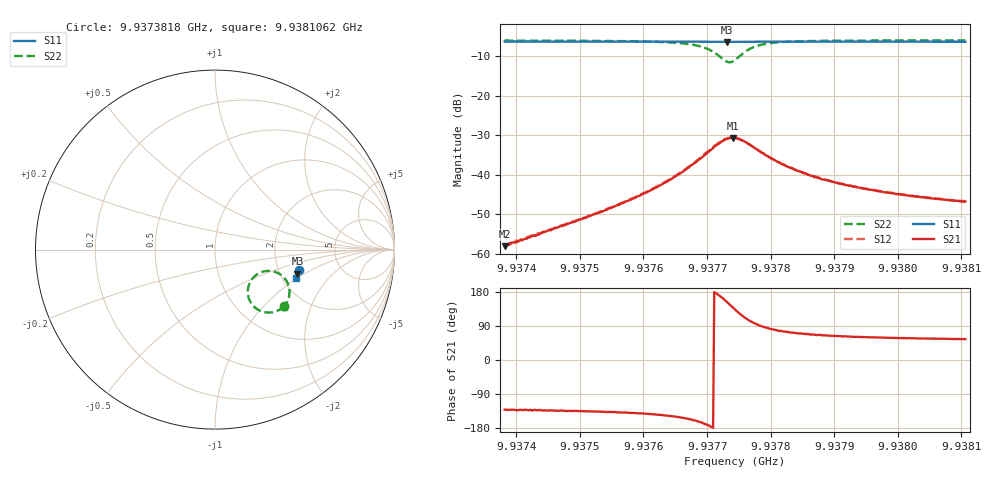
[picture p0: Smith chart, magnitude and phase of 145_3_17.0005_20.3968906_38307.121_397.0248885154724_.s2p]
#  HZ  S  RI  R  50.00
! Rohde & Schwarz Vector Network Analyzer
! Rohde-Schwarz,ZNB20-2Port,1311601062101988,3.16
! Created: UTC 3/20/2024, 10:58:37 PM
! freq[Hz]  re:S11  im:S11  re:S21  im:S21  re:S12  im:S12  re:S22  im:S22
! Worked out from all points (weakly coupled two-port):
!   401 points, 9.9373818 GHz to 9.9381062 GHz, reference 50 ohm
!   highest |S21| = -30.71 dB at 9.9377404 GHz (marker M1); lowest = -58.1 dB at 9.9373818 GHz (marker M2)
!   lowest |S11| = -6.4 dB at 9.9377313 GHz (marker M3), VSWR 2.83, Z = 124 - j43.1 ohm
!   |S11| at or under -10 dB: nowhere
!   |S22| runs from -11.6 to -6.0 dB; largest |S21 - S12| = 0.0014
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9.93738182e9  0.4701 -0.1118  -0.000815 -0.000935  -0.000845 -0.000951  0.3832 -0.3166
9.93750316e9  0.4674 -0.1199  -0.00189 -0.00195  -0.002 -0.00193  0.3674 -0.3291
9.93756473e9  0.4659 -0.1241  -0.00322 -0.00284  -0.00329 -0.00286  0.3533 -0.3377
9.93759914e9  0.4652 -0.1266  -0.00444 -0.00353  -0.00457 -0.00351  0.3407 -0.3432
9.93762449e9  0.4643 -0.1283  -0.00585 -0.00418  -0.00603 -0.00412  0.3273 -0.3474
9.9376589e9  0.4631 -0.1307  -0.00926 -0.00495  -0.00951 -0.00492  0.2973 -0.3512
9.9376915e9  0.4618 -0.1329  -0.0158 -0.00427  -0.0163 -0.00408  0.2431 -0.3369
9.93771142e9  0.4603 -0.1338  -0.0223 0.000307  -0.0229 0.00093  0.1969 -0.2908
9.93772229e9  0.4595 -0.134  -0.0254 0.00614  -0.0256 0.00702  0.1828 -0.2397
9.93773134e9  0.4591 -0.1337  -0.0252 0.0128  -0.0252 0.0137  0.193 -0.1869
9.93773677e9  0.4593 -0.1336  -0.0237 0.0167  -0.0235 0.0179  0.2121 -0.1575
9.9377404e9  0.4592 -0.1335  -0.022 0.0191  -0.0217 0.0202  0.2292 -0.1416
9.93774402e9  0.4594 -0.1334  -0.0199 0.0211  -0.0194 0.0222  0.2491 -0.1296
9.93775307e9  0.4598 -0.1336  -0.0139 0.0239  -0.0132 0.0245  0.3017 -0.1186
9.93776394e9  0.4604 -0.1342  -0.00722 0.0237  -0.00626 0.024  0.3527 -0.1318
9.93778386e9  0.4609 -0.1357  -6.68e-05 0.0196  0.000384 0.0195  0.4 -0.1771
9.93782008e9  0.4605 -0.1388  0.00343 0.0129  0.00363 0.0129  0.4153 -0.235
9.93786535e9  0.4595 -0.1422  0.00371 0.00888  0.00395 0.00873  0.4104 -0.2694
9.93792149e9  0.4582 -0.1461  0.00346 0.00645  0.00356 0.00643  0.4019 -0.2907
9.93798669e9  0.4567 -0.1504  0.00307 0.005  0.00315 0.005  0.3938 -0.3044
9.93807905e9  0.4542 -0.1564  0.00269 0.00392  0.00277 0.00388  0.3848 -0.3169
9.93810621e9  0.4534 -0.1582  0.00262 0.00374  0.00272 0.00372  0.3824 -0.3195
